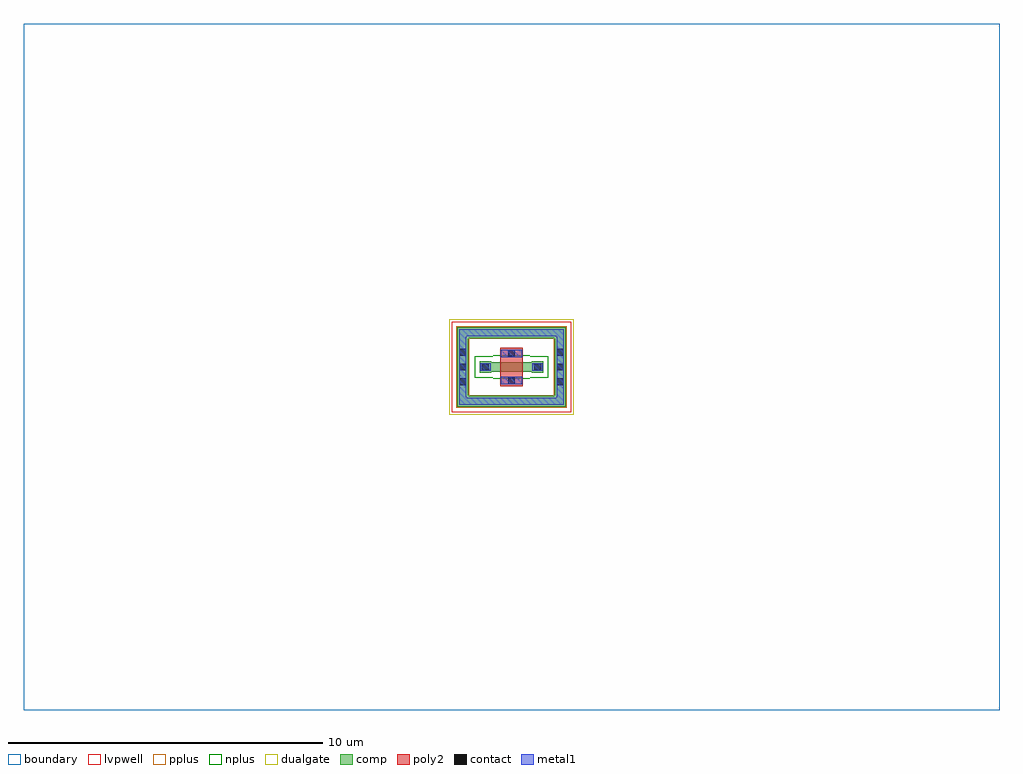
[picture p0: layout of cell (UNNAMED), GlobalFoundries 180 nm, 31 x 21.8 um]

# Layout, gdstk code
import gdstk
lib = gdstk.Library(unit=1e-6, precision=1e-09)
def R(c, l, rs):  # rectangles x0, y0, x1, y1
    for r in rs: c.add(gdstk.rectangle(r[:2], r[2:], *l))
def A(c, l, x, y, w, h, nx, ny, dx, dy):  # array of equal rectangles
    R(c, l, [(x+i*dx, y+j*dy, x+i*dx+w, y+j*dy+h) for i in range(nx) for j in range(ny)])
boundary = (0, 0)
comp = (22, 0)
poly2 = (30, 0)
pplus = (31, 0)
nplus = (32, 0)
contact = (33, 0)
metal1 = (34, 0)
dualgate = (55, 0)
lvpwell = (204, 0)

c__unnamed_ = lib.new_cell('(UNNAMED)')
R(c__unnamed_, boundary, [(-15.5,-10.9,15.5,10.9)])
R(c__unnamed_, comp, [(-1.73,-1.27,1.73,-0.91), (-1.73,-0.91,-1.37,0.91), (1.37,-0.91,1.73,0.91), (-1.01,-0.18,-0.65,-0.15), (0.65,-0.18,1.01,-0.15), (-1.01,-0.15,1.01,0.15), (-1.01,0.15,-0.65,0.18), (0.65,0.15,1.01,0.18), (-1.73,0.91,1.73,1.27)])
R(c__unnamed_, poly2, [(-0.35,-0.61,0.35,0.61)])
R(c__unnamed_, pplus, [(-1.75,-1.29,1.75,-0.89), (-1.75,-0.89,-1.34,-0.785), (1.34,-0.89,1.75,-0.785), (-1.76,-0.785,-1.34,0.785), (1.34,-0.785,1.76,0.785), (-1.75,0.785,-1.34,0.89), (1.34,0.785,1.75,0.89), (-1.75,0.89,1.75,1.29)])
R(c__unnamed_, nplus, [(-0.58,-0.38,0.58,-0.34), (-1.17,-0.34,1.17,0.34), (-0.58,0.34,0.58,0.38)])
A(c__unnamed_, contact, -1.66, -0.58, 0.22, 0.22, 1, 3, 0, 0.47)
A(c__unnamed_, contact, 1.44, -0.58, 0.22, 0.22, 1, 3, 0, 0.47)
R(c__unnamed_, contact, [(-0.11,-0.54,0.11,-0.32), (-0.94,-0.11,-0.72,0.11), (0.72,-0.11,0.94,0.11), (-0.11,0.32,0.11,0.54)])
R(c__unnamed_, metal1, [(-1.665,-1.205,1.665,-0.975), (-1.665,-0.975,-1.435,0.975), (1.435,-0.975,1.665,0.975), (-0.34,-0.545,0.34,-0.315), (-1,-0.115,-0.66,0.115), (0.66,-0.115,1,0.115), (-0.34,0.315,0.34,0.545), (-1.665,0.975,1.665,1.205)])
R(c__unnamed_, dualgate, [(-1.97,-1.51,1.97,1.51)])
R(c__unnamed_, lvpwell, [(-1.89,-1.43,1.89,1.43)])

lib.write_gds('_UNNAMED_.gds')
